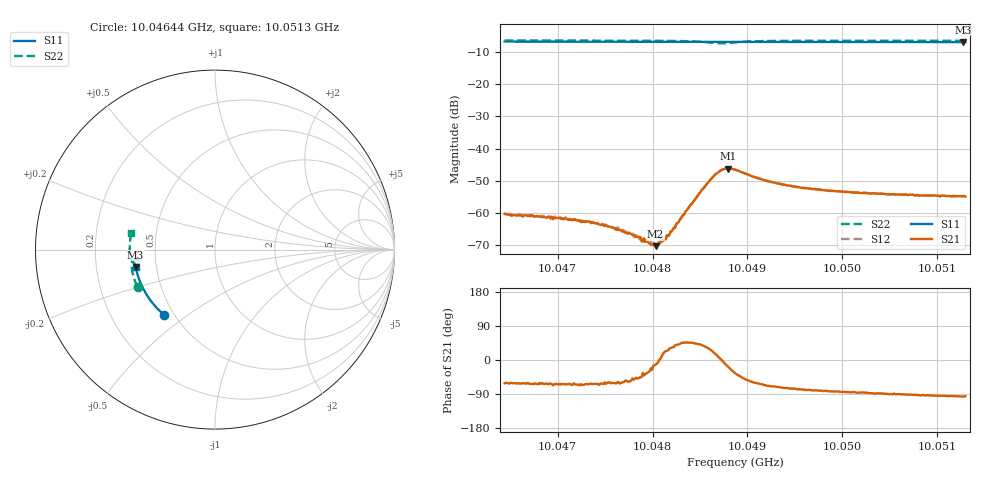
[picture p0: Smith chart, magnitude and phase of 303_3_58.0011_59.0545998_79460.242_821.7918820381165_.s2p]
#  HZ  S  RI  R  50.00
! Rohde & Schwarz Vector Network Analyzer
! Rohde-Schwarz,ZNB20-2Port,1311601062101988,3.16
! Created: UTC 3/21/2024, 1:03:53 AM
! freq[Hz]  re:S11  im:S11  re:S21  im:S21  re:S12  im:S12  re:S22  im:S22
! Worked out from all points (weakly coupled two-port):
!   401 points, 10.04644 GHz to 10.0513 GHz, reference 50 ohm
!   highest |S21| = -46.24 dB at 10.0488 GHz (marker M1); lowest = -70.4 dB at 10.04803 GHz (marker M2)
!   lowest |S11| = -6.9 dB at 10.05127 GHz (marker M3), VSWR 2.65, Z = 19 - j4.62 ohm
!   |S11| at or under -10 dB: nowhere
!   |S22| runs from -7.3 to -6.4 dB; largest |S21 - S12| = 0.00033
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1.0046441e10  -0.2825 -0.3644  0.000462 -0.000846  0.000546 -0.00083  -0.4317 -0.2088
1.0046999e10  -0.3102 -0.3397  0.000362 -0.000754  0.000403 -0.000717  -0.4459 -0.1737
1.0047254e10  -0.3222 -0.3277  0.000295 -0.00066  0.00041 -0.000639  -0.4516 -0.1575
1.0047388e10  -0.3281 -0.3212  0.000321 -0.000617  0.000311 -0.000622  -0.454 -0.1484
1.0047643e10  -0.3392 -0.3086  0.000288 -0.000475  0.00033 -0.000487  -0.4585 -0.131
1.0047764e10  -0.3446 -0.3025  0.000269 -0.000394  0.000314 -0.000365  -0.4604 -0.1224
1.0047934e10  -0.3515 -0.2936  0.000302 -0.000217  0.000296 -0.000186  -0.4623 -0.1097
1.0047983e10  -0.3534 -0.2912  0.000293 -0.000118  0.000335 -0.000113  -0.463 -0.106
1.0048031e10  -0.3554 -0.2886  0.000295 -6.66e-05  0.000325 -4.25e-05  -0.4633 -0.1022
1.0048068e10  -0.3568 -0.2867  0.000323 -2.79e-06  0.00036 1.01e-05  -0.4634 -0.0994
1.0048104e10  -0.3583 -0.2849  0.000355 7.92e-05  0.000345 0.000104  -0.4638 -0.0963
1.0048153e10  -0.3602 -0.2823  0.000409 0.000183  0.000393 0.000206  -0.4639 -0.0923
1.0048505e10  -0.3735 -0.2631  0.00158 0.00137  0.0015 0.00146  -0.454 -0.0599
1.0048638e10  -0.378 -0.2557  0.00339 0.00131  0.00332 0.00154  -0.4379 -0.0542
1.0048723e10  -0.3808 -0.2511  0.00458 9.95e-05  0.00461 0.000347  -0.4286 -0.0625
1.0048796e10  -0.3833 -0.2471  0.00464 -0.00151  0.00476 -0.00127  -0.4309 -0.0733
1.0048869e10  -0.3857 -0.2432  0.00386 -0.00264  0.00404 -0.00243  -0.4403 -0.0782
1.0049258e10  -0.3984 -0.221  0.00105 -0.0028  0.00124 -0.00277  -0.4693 -0.0506
1.0049683e10  -0.4107 -0.1956  0.00041 -0.00229  0.000536 -0.00231  -0.4748 -0.0172
1.0050496e10  -0.4296 -0.1458  -2.11e-05 -0.00194  0.000136 -0.00195  -0.4741 0.0399
1.0051273e10  -0.4422 -0.0965  -0.000201 -0.0018  -9.33e-05 -0.00182  -0.4665 0.0912
1.0051297e10  -0.4426 -0.0948  -0.000182 -0.00178  -8.09e-05 -0.00181  -0.4662 0.0929
